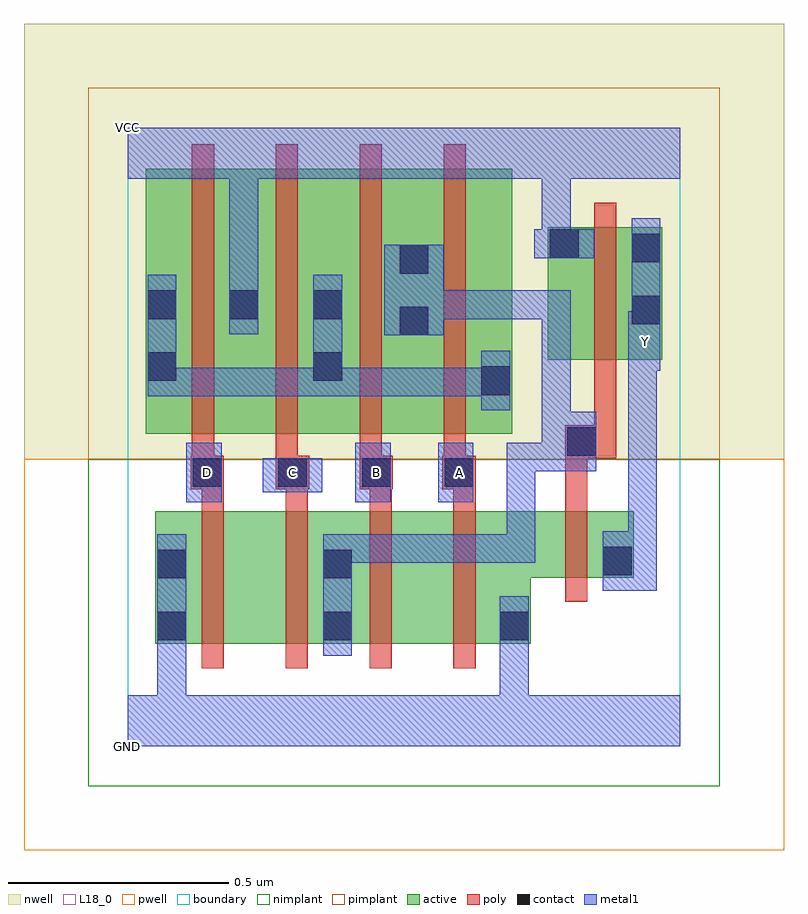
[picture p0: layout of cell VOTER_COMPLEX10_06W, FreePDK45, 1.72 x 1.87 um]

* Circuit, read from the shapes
.subckt VOTER_COMPLEX10_06W A B C D GND VCC Y
M1 n1 D GND VSUBS nfet w=0.3u l=0.05u
M2 n2 C n1 VSUBS nfet w=0.3u l=0.05u
M3 n3 B n2 VSUBS nfet w=0.3u l=0.05u
M4 GND A n3 VSUBS nfet w=0.3u l=0.05u
M5 Y n2 GND VSUBS nfet w=0.15u l=0.05u
M6 VCC D n4 n5 pfet w=0.6u l=0.05u
M7 n4 C VCC n5 pfet w=0.6u l=0.05u
M8 n2 B n4 n5 pfet w=0.6u l=0.05u
M9 n4 A n2 n5 pfet w=0.6u l=0.05u
M10 Y n2 VCC n5 pfet w=0.3u l=0.05u
.ends

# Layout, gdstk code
import gdstk
lib = gdstk.Library(unit=1e-6, precision=1e-09)
def R(c, l, rs):  # rectangles x0, y0, x1, y1
    for r in rs: c.add(gdstk.rectangle(r[:2], r[2:], *l))
def A(c, l, x, y, w, h, nx, ny, dx, dy):  # array of equal rectangles
    R(c, l, [(x+i*dx, y+j*dy, x+i*dx+w, y+j*dy+h) for i in range(nx) for j in range(ny)])
active = (1, 0)
pwell = (2, 0)
nwell = (3, 0)
nimplant = (4, 0)
pimplant = (5, 0)
poly = (9, 0)
contact = (10, 0)
metal1 = (11, 0)
L18_0 = (18, 0)
boundary = (235, 0)

voter_complex10_06w = lib.new_cell('VOTER_COMPLEX10_06W')
R(voter_complex10_06w, active, [(0.062,0.232,0.137,0.532), (0.062,0.232,0.287,0.532), (0.287,0.232,0.512,0.532), (0.437,0.232,0.667,0.532), (0.437,0.232,0.512,0.532), (0.667,0.232,0.912,0.532), (0.837,0.232,0.912,0.382), (0.837,0.382,1.145,0.532), (1.07,0.382,1.145,0.532), (0.04,0.707,0.3,1.307), (0.04,0.707,0.115,1.2), (0.225,0.707,0.49,1.307), (0.225,0.707,0.3,1.305), (0.415,0.707,0.49,1.2), (0.415,0.707,0.685,1.307), (0.61,0.707,0.87,1.307), (0.61,0.707,0.685,1.2), (0.795,0.707,0.87,1.047), (0.95,0.875,1.21,1.175), (1.135,0.875,1.21,1.165), (0.95,0.965,1.025,1.175)])
R(voter_complex10_06w, pwell, [(-0.235,-0.235,1.485,0.65)])
R(voter_complex10_06w, nwell, [(-0.235,0.65,1.485,1.635)])
R(voter_complex10_06w, nimplant, [(-0.09,-0.09,1.34,0.65)])
R(voter_complex10_06w, pimplant, [(-0.09,0.65,1.34,1.49)])
A(voter_complex10_06w, poly, 0.167, 0.177, 0.05, 0.41, 4, 1, 0.19, 0)
A(voter_complex10_06w, poly, 0.167, 0.537, 0.05, 0.095, 4, 1, 0.19, 0)
A(voter_complex10_06w, poly, 0.145, 0.607, 0.05, 0.095, 4, 1, 0.19, 0)
A(voter_complex10_06w, poly, 0.145, 0.652, 0.05, 0.71, 4, 1, 0.19, 0)
R(voter_complex10_06w, poly, [(0.99,0.327,1.04,0.587), (0.99,0.537,1.04,0.702), (0.142,0.582,0.217,0.657), (0.335,0.582,0.41,0.657), (0.525,0.582,0.6,0.657), (0.712,0.582,0.787,0.657), (0.99,0.652,1.105,0.727), (1.055,0.677,1.105,0.87), (1.055,0.82,1.105,1.23)])
R(voter_complex10_06w, contact, [(0.067,0.24,0.132,0.305), (0.442,0.24,0.507,0.305), (0.842,0.24,0.907,0.305), (0.067,0.38,0.132,0.445), (0.442,0.38,0.507,0.445), (1.075,0.387,1.14,0.452), (0.147,0.587,0.212,0.652), (0.34,0.587,0.405,0.652), (0.53,0.587,0.595,0.652), (0.717,0.587,0.782,0.652), (0.995,0.657,1.06,0.722), (0.8,0.795,0.865,0.86), (0.045,0.827,0.11,0.892), (0.42,0.827,0.485,0.892), (0.615,0.93,0.68,0.995), (1.14,0.955,1.205,1.02), (0.045,0.967,0.11,1.032), (0.23,0.967,0.295,1.032), (0.42,0.967,0.485,1.032), (0.615,1.07,0.68,1.135), (1.14,1.095,1.205,1.16), (0.955,1.105,1.02,1.17)])
R(voter_complex10_06w, metal1, [(0,0,1.25,0.115), (0.067,0.05,0.132,0.27), (0.842,0.05,0.907,0.27), (0.067,0.205,0.132,0.27), (0.067,0.205,0.132,0.27), (0.067,0.205,0.132,0.27), (0.067,0.205,0.132,0.27), (0.067,0.205,0.132,0.48), (0.442,0.205,0.507,0.48), (0.842,0.205,0.907,0.27), (0.842,0.205,0.907,0.27), (0.842,0.205,0.907,0.27), (0.842,0.205,0.907,0.27), (0.842,0.205,0.907,0.34), (1.075,0.352,1.197,0.487), (0.442,0.415,0.507,0.48), (0.442,0.415,0.507,0.48), (0.442,0.415,0.645,0.48), (0.58,0.415,0.645,0.48), (0.58,0.415,0.645,0.48), (0.58,0.415,0.645,0.48), (0.58,0.415,0.922,0.48), (0.857,0.415,0.922,0.48), (0.857,0.415,0.922,0.687), (1.132,0.422,1.197,0.915), (0.132,0.552,0.212,0.687), (0.515,0.552,0.595,0.687), (0.702,0.552,0.782,0.687), (0.305,0.575,0.44,0.652), (0.857,0.622,0.922,0.687), (0.857,0.622,1.002,0.687), (0.937,0.622,1.002,0.687), (0.937,0.622,1.06,0.687), (0.937,0.622,1.002,1.032), (0.995,0.622,1.06,0.757), (0.8,0.76,0.865,0.895), (0.045,0.792,0.11,0.857), (0.045,0.792,0.11,0.857), (0.045,0.792,0.11,1.067), (0.045,0.792,0.347,0.857), (0.282,0.792,0.347,0.857), (0.282,0.792,0.347,0.857), (0.282,0.792,0.347,0.857), (0.282,0.792,0.485,0.857), (0.42,0.792,0.485,0.857), (0.42,0.792,0.485,0.857), (0.42,0.792,0.485,1.067), (0.42,0.792,0.645,0.857), (0.58,0.792,0.645,0.857), (0.58,0.792,0.847,0.857), (0.782,0.792,0.847,0.857), (0.782,0.792,0.865,0.857), (1.132,0.85,1.205,0.985), (1.14,0.92,1.205,0.985), (1.14,0.92,1.205,1.195), (0.58,0.93,0.715,1.135), (0.23,0.932,0.295,1.067), (0.65,0.967,0.847,1.032), (0.782,0.967,0.847,1.032), (0.782,0.967,0.852,1.032), (0.787,0.967,0.852,1.032), (0.787,0.967,1.002,1.032), (0.937,0.967,1.002,1.032), (0.937,0.967,1.002,1.032), (0.937,0.967,1.002,1.032), (0.23,1.002,0.295,1.35), (0.92,1.105,1.055,1.17), (0.937,1.105,1.002,1.17), (0.937,1.105,1.002,1.17), (0.937,1.105,1.002,1.17), (0.937,1.105,1.002,1.17), (0.937,1.105,1.002,1.35), (0,1.285,1.25,1.4)])
R(voter_complex10_06w, L18_0, [(0,0,1.25,0.115), (0.067,0.05,0.132,0.27), (0.842,0.05,0.907,0.27), (0.067,0.205,0.132,0.27), (0.067,0.205,0.132,0.27), (0.067,0.205,0.132,0.27), (0.067,0.205,0.132,0.27), (0.067,0.205,0.132,0.48), (0.842,0.205,0.907,0.27), (0.842,0.205,0.907,0.27), (0.842,0.205,0.907,0.27), (0.842,0.205,0.907,0.27), (0.842,0.205,0.907,0.34), (1.075,0.352,1.197,0.487), (1.132,0.422,1.197,0.915), (0.132,0.552,0.212,0.687), (0.515,0.552,0.595,0.687), (0.702,0.552,0.782,0.687), (0.305,0.575,0.44,0.652), (0.147,0.587,0.212,0.652), (0.34,0.587,0.405,0.652), (0.53,0.587,0.595,0.652), (0.717,0.587,0.782,0.652), (1.132,0.85,1.205,0.985), (1.14,0.885,1.205,0.95), (1.14,0.92,1.205,0.985), (1.14,0.92,1.205,1.195), (0.23,0.932,0.295,1.067), (0.23,1.002,0.295,1.35), (0.92,1.105,1.055,1.17), (0.937,1.105,1.002,1.17), (0.937,1.105,1.002,1.17), (0.937,1.105,1.002,1.17), (0.937,1.105,1.002,1.17), (0.937,1.105,1.002,1.35), (0,1.285,1.25,1.4)])
R(voter_complex10_06w, boundary, [(0,0,1.25,1.4)])
voter_complex10_06w.add(gdstk.Label('A', (0.75,0.62), layer=11, texttype=0))
voter_complex10_06w.add(gdstk.Label('B', (0.562,0.62), layer=11, texttype=0))
voter_complex10_06w.add(gdstk.Label('C', (0.372,0.62), layer=11, texttype=0))
voter_complex10_06w.add(gdstk.Label('D', (0.18,0.62), layer=11, texttype=0))
voter_complex10_06w.add(gdstk.Label('Y', (1.172,0.917), layer=11, texttype=0))
voter_complex10_06w.add(gdstk.Label('VCC', (0,1.4), layer=11, texttype=0))
voter_complex10_06w.add(gdstk.Label('GND', (0,0), layer=11, texttype=0))

lib.write_gds('VOTER_COMPLEX10_06W.gds')
